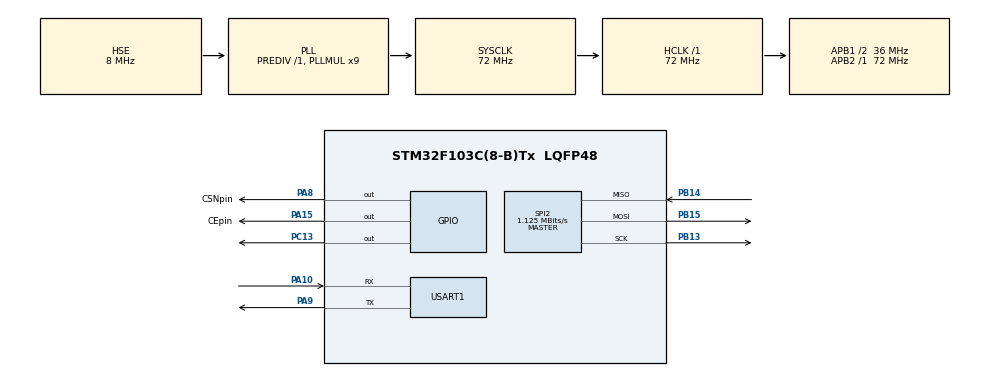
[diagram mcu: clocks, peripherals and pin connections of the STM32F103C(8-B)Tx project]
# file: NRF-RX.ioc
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Mcu.Family=STM32F1
Mcu.Name=STM32F103C(8-B)Tx
Mcu.Package=LQFP48
NVIC.PriorityGroup=NVIC_PRIORITYGROUP_4
PA10.Mode=Asynchronous
PA10.Signal=USART1_RX
PA13.Mode=Serial_Wire
PA13.Signal=SYS_JTMS-SWDIO
PA14.Mode=Serial_Wire
PA14.Signal=SYS_JTCK-SWCLK
PA15.GPIO_Label=CEpin
PA15.Signal=GPIO_Output
PA8.GPIO_Label=CSNpin
PA8.Signal=GPIO_Output
PA9.Mode=Asynchronous
PA9.Signal=USART1_TX
PB13.Mode=Full_Duplex_Master
PB13.Signal=SPI2_SCK
PB14.Mode=Full_Duplex_Master
PB14.Signal=SPI2_MISO
PB15.Mode=Full_Duplex_Master
PB15.Signal=SPI2_MOSI
PC13-TAMPER-RTC.Signal=GPIO_Output
PD0-OSC_IN.Mode=HSE-External-Oscillator
PD0-OSC_IN.Signal=RCC_OSC_IN
PD1-OSC_OUT.Mode=HSE-External-Oscillator
PD1-OSC_OUT.Signal=RCC_OSC_OUT
ProjectManager.HeapSize=0x200
ProjectManager.StackSize=0x400
ProjectManager.TargetToolchain=MDK-ARM V5.27
RCC.AHBFreq_Value=72000000
RCC.APB1CLKDivider=RCC_HCLK_DIV2
RCC.APB1Freq_Value=36000000
RCC.APB1TimFreq_Value=72000000
RCC.APB2Freq_Value=72000000
RCC.APB2TimFreq_Value=72000000
RCC.HCLKFreq_Value=72000000
RCC.PLLMUL=RCC_PLL_MUL9
RCC.PLLSourceVirtual=RCC_PLLSOURCE_HSE
RCC.SYSCLKFreq_VALUE=72000000
RCC.SYSCLKSource=RCC_SYSCLKSOURCE_PLLCLK
RCC.USBFreq_Value=72000000
SPI2.BaudRatePrescaler=SPI_BAUDRATEPRESCALER_32
SPI2.CalculateBaudRate=1.125 MBits/s
SPI2.Direction=SPI_DIRECTION_2LINES
SPI2.Mode=SPI_MODE_MASTER
SPI2.VirtualType=VM_MASTER
USART1.VirtualMode=VM_ASYNC
board=custom

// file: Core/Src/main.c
/* USER CODE BEGIN Header */
/**
  ******************************************************************************
  * @file           : main.c
  * @brief          : Main program body
  ******************************************************************************
  * @attention
  *
  * <h2><center>&copy; Copyright (c) 2021 STMicroelectronics.
  * All rights reserved.</center></h2>
  *
  * This software component is licensed by ST under BSD 3-Clause license,
  * the "License"; You may not use this file except in compliance with the
  * License. You may obtain a copy of the License at:
  *                        opensource.org/licenses/BSD-3-Clause
  *
  ******************************************************************************
  */
/* USER CODE END Header */
#include "main.h"

/* USER CODE BEGIN Includes */
#include "MY_NRF24.h"
#include "stdio.h"
/* USER CODE END Includes */

SPI_HandleTypeDef hspi2;

UART_HandleTypeDef huart1;

void SystemClock_Config(void);
static void MX_GPIO_Init(void);
static void MX_SPI2_Init(void);
static void MX_USART1_UART_Init(void);

/* USER CODE BEGIN 0 */
uint64_t RxpipeAddrs = 0x11223344AA;
char myRxData[50];
char myAckPayload[32] = "Ack by STMF7!";
/* USER CODE END 0 */

int main(void)
{

  /* MCU Configuration--------------------------------------------------------*/

  /* Reset of all peripherals, Initializes the Flash interface and the Systick. */
  HAL_Init();

  /* Configure the system clock */
  SystemClock_Config();

  /* Initialize all configured peripherals */
  MX_GPIO_Init();
  MX_SPI2_Init();
  MX_USART1_UART_Init();
  /* USER CODE BEGIN 2 */

//NRF24_begin(GPIOA, GPIO_PIN_8, GPIO_PIN_15, hspi2);
NRF24_begin(GPIOA, CSNpin_Pin, CEpin_Pin, hspi2);
	nrf24_DebugUART_Init(huart1);

	//printRadioSettings();

	//**** TRANSMIT - ACK ****//

	NRF24_startListening();
	NRF24_openReadingPipe(1, RxpipeAddrs);

	NRF24_setAutoAck(true);
	NRF24_setChannel(52);
	NRF24_setPayloadSize(32);

	NRF24_enableDynamicPayloads();
	NRF24_enableAckPayload();

  /* USER CODE END 2 */

  /* Infinite loop */
  /* USER CODE BEGIN WHILE */
  while (1)
  {

		if(NRF24_available()){
		NRF24_read(myRxData, 32);
		if(myRxData[0]==0){
		HAL_GPIO_WritePin(GPIOC,GPIO_PIN_13,0);

		}

		if(myRxData[0]==1){
		HAL_GPIO_WritePin(GPIOC,GPIO_PIN_13,1);

		}

		}

		/*
		if(NRF24_available())
		{
			NRF24_read(myRxData, 32);
			NRF24_writeAckPayload(1, myAckPayload, 32);
			myRxData[32] = '\r'; myRxData[32+1] = '\n';
			HAL_UART_Transmit(&huart1, (uint8_t *)myRxData, 32+2, 10);
		}
				HAL_GPIO_TogglePin(GPIOC,GPIO_PIN_13);//pin 12 , 13 is output and mustbe toggle pin(who that same time?)//
		HAL_Delay(100);
		*/
    /* USER CODE END WHILE */

  }
}

void SystemClock_Config(void)
{
  RCC_OscInitTypeDef RCC_OscInitStruct = {0};
  RCC_ClkInitTypeDef RCC_ClkInitStruct = {0};

  /** Initializes the RCC Oscillators according to the specified parameters
  * in the RCC_OscInitTypeDef structure.
  */
  RCC_OscInitStruct.OscillatorType = RCC_OSCILLATORTYPE_HSE;
  RCC_OscInitStruct.HSEState = RCC_HSE_ON;
  RCC_OscInitStruct.HSEPredivValue = RCC_HSE_PREDIV_DIV1;
  RCC_OscInitStruct.HSIState = RCC_HSI_ON;
  RCC_OscInitStruct.PLL.PLLState = RCC_PLL_ON;
  RCC_OscInitStruct.PLL.PLLSource = RCC_PLLSOURCE_HSE;
  RCC_OscInitStruct.PLL.PLLMUL = RCC_PLL_MUL9;
  if (HAL_RCC_OscConfig(&RCC_OscInitStruct) != HAL_OK)
  {
    Error_Handler();
  }
  /** Initializes the CPU, AHB and APB buses clocks
  */
  RCC_ClkInitStruct.ClockType = RCC_CLOCKTYPE_HCLK|RCC_CLOCKTYPE_SYSCLK
                              |RCC_CLOCKTYPE_PCLK1|RCC_CLOCKTYPE_PCLK2;
  RCC_ClkInitStruct.SYSCLKSource = RCC_SYSCLKSOURCE_PLLCLK;
  RCC_ClkInitStruct.AHBCLKDivider = RCC_SYSCLK_DIV1;
  RCC_ClkInitStruct.APB1CLKDivider = RCC_HCLK_DIV2;
  RCC_ClkInitStruct.APB2CLKDivider = RCC_HCLK_DIV1;

  if (HAL_RCC_ClockConfig(&RCC_ClkInitStruct, FLASH_LATENCY_2) != HAL_OK)
  {
    Error_Handler();
  }
}

static void MX_SPI2_Init(void)
{

  /* SPI2 parameter configuration*/
  hspi2.Instance = SPI2;
  hspi2.Init.Mode = SPI_MODE_MASTER;
  hspi2.Init.Direction = SPI_DIRECTION_2LINES;
  hspi2.Init.DataSize = SPI_DATASIZE_8BIT;
  hspi2.Init.CLKPolarity = SPI_POLARITY_LOW;
  hspi2.Init.CLKPhase = SPI_PHASE_1EDGE;
  hspi2.Init.NSS = SPI_NSS_SOFT;
  hspi2.Init.BaudRatePrescaler = SPI_BAUDRATEPRESCALER_32;
  hspi2.Init.FirstBit = SPI_FIRSTBIT_MSB;
  hspi2.Init.TIMode = SPI_TIMODE_DISABLE;
  hspi2.Init.CRCCalculation = SPI_CRCCALCULATION_DISABLE;
  hspi2.Init.CRCPolynomial = 10;
  if (HAL_SPI_Init(&hspi2) != HAL_OK)
  {
    Error_Handler();
  }

}

static void MX_USART1_UART_Init(void)
{

  huart1.Instance = USART1;
  huart1.Init.BaudRate = 115200;
  huart1.Init.WordLength = UART_WORDLENGTH_8B;
  huart1.Init.StopBits = UART_STOPBITS_1;
  huart1.Init.Parity = UART_PARITY_NONE;
  huart1.Init.Mode = UART_MODE_TX_RX;
  huart1.Init.HwFlowCtl = UART_HWCONTROL_NONE;
  huart1.Init.OverSampling = UART_OVERSAMPLING_16;
  if (HAL_UART_Init(&huart1) != HAL_OK)
  {
    Error_Handler();
  }

}

static void MX_GPIO_Init(void)
{
  GPIO_InitTypeDef GPIO_InitStruct = {0};

  /* GPIO Ports Clock Enable */
  __HAL_RCC_GPIOC_CLK_ENABLE();
  __HAL_RCC_GPIOD_CLK_ENABLE();
  __HAL_RCC_GPIOB_CLK_ENABLE();
  __HAL_RCC_GPIOA_CLK_ENABLE();

  /*Configure GPIO pin Output Level */
  HAL_GPIO_WritePin(GPIOC, GPIO_PIN_13, GPIO_PIN_RESET);

  /*Configure GPIO pin Output Level */
  HAL_GPIO_WritePin(GPIOA, CSNpin_Pin|CEpin_Pin, GPIO_PIN_RESET);

  /*Configure GPIO pin : PC13 */
  GPIO_InitStruct.Pin = GPIO_PIN_13;
  GPIO_InitStruct.Mode = GPIO_MODE_OUTPUT_PP;
  GPIO_InitStruct.Pull = GPIO_NOPULL;
  GPIO_InitStruct.Speed = GPIO_SPEED_FREQ_LOW;
  HAL_GPIO_Init(GPIOC, &GPIO_InitStruct);

  /*Configure GPIO pins : CSNpin_Pin CEpin_Pin */
  GPIO_InitStruct.Pin = CSNpin_Pin|CEpin_Pin;
  GPIO_InitStruct.Mode = GPIO_MODE_OUTPUT_PP;
  GPIO_InitStruct.Pull = GPIO_NOPULL;
  GPIO_InitStruct.Speed = GPIO_SPEED_FREQ_LOW;
  HAL_GPIO_Init(GPIOA, &GPIO_InitStruct);

}

void Error_Handler(void)
{
}

/************************ (C) COPYRIGHT STMicroelectronics *****END OF FILE****/
